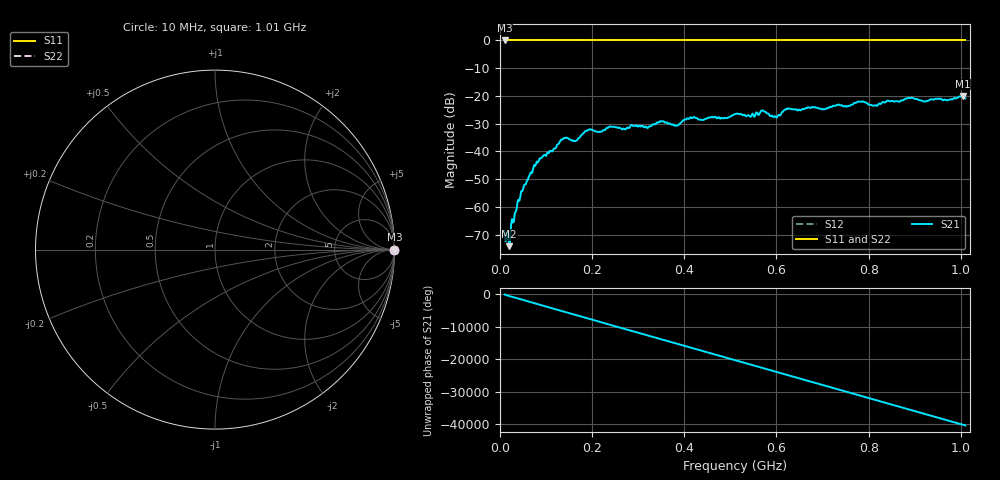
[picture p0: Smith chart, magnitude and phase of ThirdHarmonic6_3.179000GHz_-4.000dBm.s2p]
! 8/17/2025 9:35:35 AM
! C:\ANRITSUVNA\TEMP\TEMP.S2P
! CHANNEL.1
! TR.MEASUREMENT
! RAW.DATA
! RF.CORRECTION.OFF
! AVERAGING.OFF
! IF.BANDWIDTH: 5KHZ
! SWEEPTYPE:  FREQ.SWEEP(Linear)
! Reference Plane Port Info
! PORT:  PORT1  PORT2
! DISTANCE:  0  m  0  m
! TIME:  0  s  0  s
! PHASE.OFFSET:  0  deg.  0  deg.
! LOSS:  0  dB  0  dB
! REF.LOSS:  0  dB  0  dB
! REF.FREQ:  0  Hz  0  Hz
! Power Info
! POWER:  -20  dBm  -20  dBm
! EFF.POWER:  -20  dBm  -20  dBm
! SOURCE.ATTEN:  0  dB  0  dB
! TEST.ATTEN:  0  dB  0  dB
# GHZ S RI R 50.0
! FREQ.GHZ  S11RE  S11IM  S21RE  S21IM  S12RE  S12IM  S22RE  S22IM
!; PortSelection: Port_12
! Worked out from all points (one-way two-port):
!   501 points, 10 MHz to 1.01 GHz, reference 50 ohm
!   highest |S21| = -19.98 dB at 1.004 GHz (marker M1); lowest = -74.2 dB at 20 MHz (marker M2)
!   lowest |S11| = 0.0 dB at 10 MHz (marker M3)
!   |S11| at or under -10 dB: nowhere
!   |S22| runs from 0.0 to 0.0 dB; largest |S21 - S12| = 1.1
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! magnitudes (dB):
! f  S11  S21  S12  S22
! 10 MHz  0.0  -68.7  0.0  0.0
! 16 MHz  0.0  -69.2  0.0  0.0
! 20 MHz  0.0  -74.2  0.0  0.0
! 42 MHz  0.0  -57.8  0.0  0.0
! 76 MHz  0.0  -45.2  0.0  0.0
! 136 MHz  0.0  -35.7  0.0  0.0
! 162 MHz  0.0  -36.3  0.0  0.0
! 178 MHz  0.0  -33.9  0.0  0.0
! 194 MHz  0.0  -32.2  0.0  0.0
! 318 MHz  0.0  -31.3  0.0  0.0
! 344 MHz  0.0  -29.6  0.0  0.0
! 382 MHz  0.0  -30.7  0.0  0.0
! 416 MHz  0.0  -28.0  0.0  0.0
! 510 MHz  0.0  -26.6  0.0  0.0
! 570 MHz  0.0  -25.3  0.0  0.0
! 598 MHz  0.0  -27.4  0.0  0.0
! 622 MHz  0.0  -24.8  0.0  0.0
! 678 MHz  0.0  -24.0  0.0  0.0
! 814 MHz  0.0  -23.4  0.0  0.0
! 844 MHz  0.0  -21.8  0.0  0.0
! 1.004 GHz  0.0  -20.0  0.0  0.0
! 1.01 GHz  0.0  -20.9  0.0  0.0
